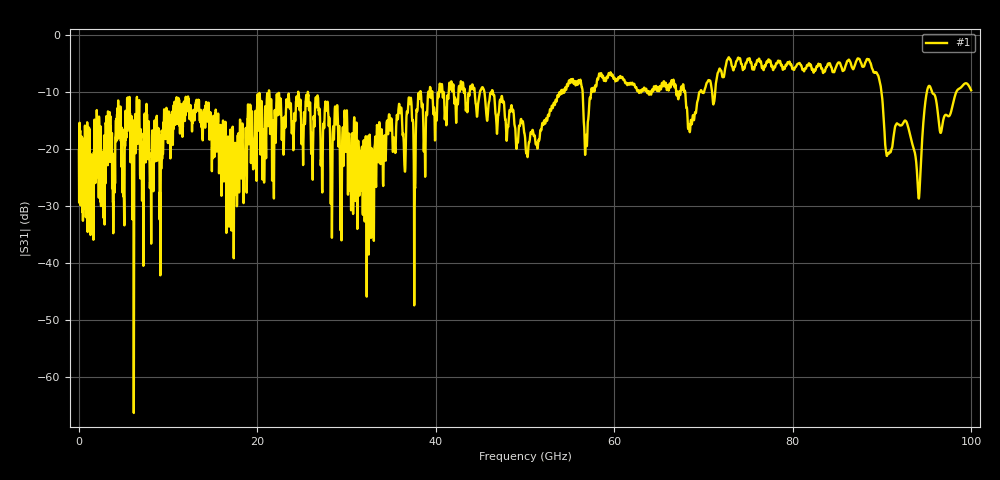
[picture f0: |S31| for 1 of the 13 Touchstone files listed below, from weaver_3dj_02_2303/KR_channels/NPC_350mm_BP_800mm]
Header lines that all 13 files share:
# ghz S ma R 45
! 4 Port Network Data from SP1.SP block
! freq  magS11  angS11  magS12  angS12  magS13  angS13  magS14  angS14
!  magS21  angS21  magS22  angS22  magS23  angS23  magS24  angS24
!  magS31  angS31  magS32  angS32  magS33  angS33  magS34  angS34
!  magS41  angS41  magS42  angS42  magS43  angS43  magS44  angS44
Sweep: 25 MHz to 100 GHz
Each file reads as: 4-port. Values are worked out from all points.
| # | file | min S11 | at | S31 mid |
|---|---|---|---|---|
| 1 | KR_ch_3in_PCB_NPC_350mm_29AWG_BP_800mm_27AWG_FEXT1.s4p | -45.2 dB | 18.4 GHz | -18.1 dB at 50.02 GHz |
| 2 | KR_ch_3in_PCB_NPC_350mm_29AWG_BP_800mm_27AWG_FEXT2.s4p | -45.2 dB | 18.4 GHz | -18.1 dB at 50.02 GHz |
| 3 | KR_ch_3in_PCB_NPC_350mm_29AWG_BP_800mm_27AWG_FEXT3.s4p | -45.2 dB | 18.4 GHz | -18.1 dB at 50.02 GHz |
| 4 | KR_ch_3in_PCB_NPC_350mm_29AWG_BP_800mm_27AWG_FEXT4.s4p | -45.2 dB | 18.4 GHz | -18.1 dB at 50.02 GHz |
| 5 | KR_ch_3in_PCB_NPC_350mm_29AWG_BP_800mm_27AWG_FEXT5.s4p | -45.2 dB | 18.4 GHz | -18.1 dB at 50.02 GHz |
| 6 | KR_ch_3in_PCB_NPC_350mm_29AWG_BP_800mm_27AWG_FEXT6.s4p | -45.2 dB | 18.4 GHz | -18.1 dB at 50.02 GHz |
| 7 | KR_ch_3in_PCB_NPC_350mm_29AWG_BP_800mm_27AWG_NEXT1.s4p | -45.2 dB | 18.4 GHz | -18.1 dB at 50.02 GHz |
| 8 | KR_ch_3in_PCB_NPC_350mm_29AWG_BP_800mm_27AWG_NEXT2.s4p | -45.2 dB | 18.4 GHz | -18.1 dB at 50.02 GHz |
| 9 | KR_ch_3in_PCB_NPC_350mm_29AWG_BP_800mm_27AWG_NEXT3.s4p | -45.2 dB | 18.4 GHz | -18.1 dB at 50.02 GHz |
| 10 | KR_ch_3in_PCB_NPC_350mm_29AWG_BP_800mm_27AWG_NEXT4.s4p | -45.2 dB | 18.4 GHz | -18.1 dB at 50.02 GHz |
| 11 | KR_ch_3in_PCB_NPC_350mm_29AWG_BP_800mm_27AWG_NEXT5.s4p | -45.2 dB | 18.4 GHz | -18.1 dB at 50.02 GHz |
| 12 | KR_ch_3in_PCB_NPC_350mm_29AWG_BP_800mm_27AWG_NEXT6.s4p | -45.2 dB | 18.4 GHz | -18.1 dB at 50.02 GHz |
| 13 | KR_ch_3in_PCB_NPC_350mm_29AWG_BP_800mm_27AWG_thru.s4p | -45.2 dB | 18.4 GHz | -18.1 dB at 50.02 GHz |
